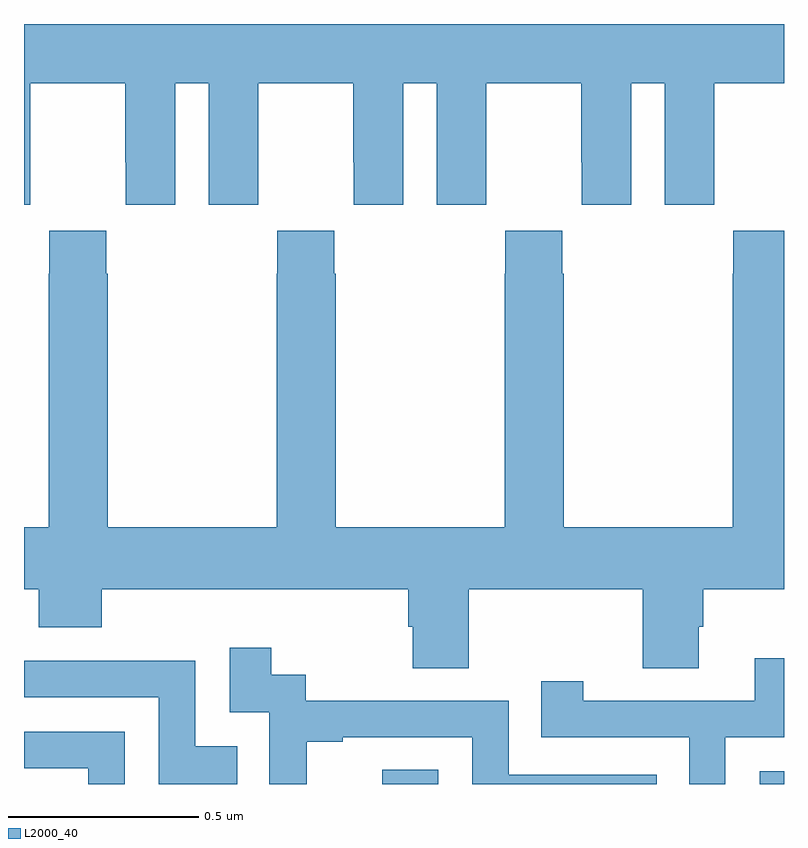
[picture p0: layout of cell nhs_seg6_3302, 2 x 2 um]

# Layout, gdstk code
import gdstk
lib = gdstk.Library(unit=1e-6, precision=1e-09)
def R(c, l, rs):  # rectangles x0, y0, x1, y1
    for r in rs: c.add(gdstk.rectangle(r[:2], r[2:], *l))
def P(c, l, *ps):  # polygons
    for p in ps: c.add(gdstk.Polygon(p, *l))
L2000_40 = (2000, 40)

nhs_seg6_3302 = lib.new_cell('nhs_seg6_3302')
R(nhs_seg6_3302, L2000_40, [(155.943,937.5,156.09,937.537), (156.936,937.5,157,937.533)])
P(nhs_seg6_3302, L2000_40, [(155.016,939.136),(155.017,939.136),(155.017,939.344),(155.267,939.344),(155.267,939.136),(155.268,939.136),(155.268,939.024),(155.398,939.024),(155.398,939.344),(155.486,939.344),(155.486,939.024),(155.616,939.024),(155.616,939.136),(155.617,939.136),(155.617,939.344),(155.867,939.344),(155.867,939.136),(155.868,939.136),(155.868,939.024),(155.998,939.024),(155.998,939.344),(156.086,939.344),(156.086,939.024),(156.216,939.024),(156.216,939.136),(156.217,939.136),(156.217,939.344),(156.467,939.344),(156.467,939.136),(156.468,939.136),(156.468,939.024),(156.598,939.024),(156.598,939.344),(156.686,939.344),(156.686,939.024),(156.816,939.024),(156.816,939.136),(156.817,939.136),(156.817,939.344),(157,939.344),(157,939.5),(155,939.5),(155,939.024),(155.016,939.024)],
  [(156.171,938.012),(156.628,938.012),(156.628,937.804),(156.775,937.804),(156.775,937.914),(156.788,937.914),(156.788,938.012),(157,938.012),(157,938.956),(156.867,938.956),(156.867,938.843),(156.865,938.843),(156.865,938.176),(156.42,938.176),(156.42,938.843),(156.417,938.843),(156.417,938.956),(156.267,938.956),(156.267,938.843),(156.265,938.843),(156.265,938.176),(155.82,938.176),(155.82,938.843),(155.817,938.843),(155.817,938.956),(155.667,938.956),(155.667,938.843),(155.665,938.843),(155.665,938.176),(155.22,938.176),(155.22,938.843),(155.217,938.843),(155.217,938.956),(155.067,938.956),(155.067,938.843),(155.065,938.843),(155.065,938.176),(155,938.176),(155,938.012),(155.039,938.012),(155.039,937.913),(155.204,937.913),(155.204,938.012),(156.011,938.012),(156.011,937.914),(156.023,937.914),(156.023,937.804),(156.171,937.804)],
  [(155.744,937.611),(155.839,937.611),(155.839,937.623),(156.18,937.623),(156.18,937.5),(156.665,937.5),(156.665,937.524),(156.276,937.524),(156.276,937.719),(155.742,937.719),(155.742,937.788),(155.65,937.788),(155.65,937.858),(155.541,937.858),(155.541,937.689),(155.646,937.689),(155.646,937.5),(155.744,937.5)],
  [(156.846,937.623),(157,937.623),(157,937.831),(156.923,937.831),(156.923,937.719),(156.472,937.719),(156.472,937.771),(156.361,937.771),(156.361,937.623),(156.75,937.623),(156.75,937.5),(156.846,937.5)],
  [(155.561,937.599),(155.451,937.599),(155.451,937.824),(155,937.824),(155,937.728),(155.355,937.728),(155.355,937.5),(155.561,937.5)],
  [(155.265,937.638),(155,937.638),(155,937.542),(155.169,937.542),(155.169,937.5),(155.265,937.5)])

lib.write_gds('nhs_seg6_3302.gds')
